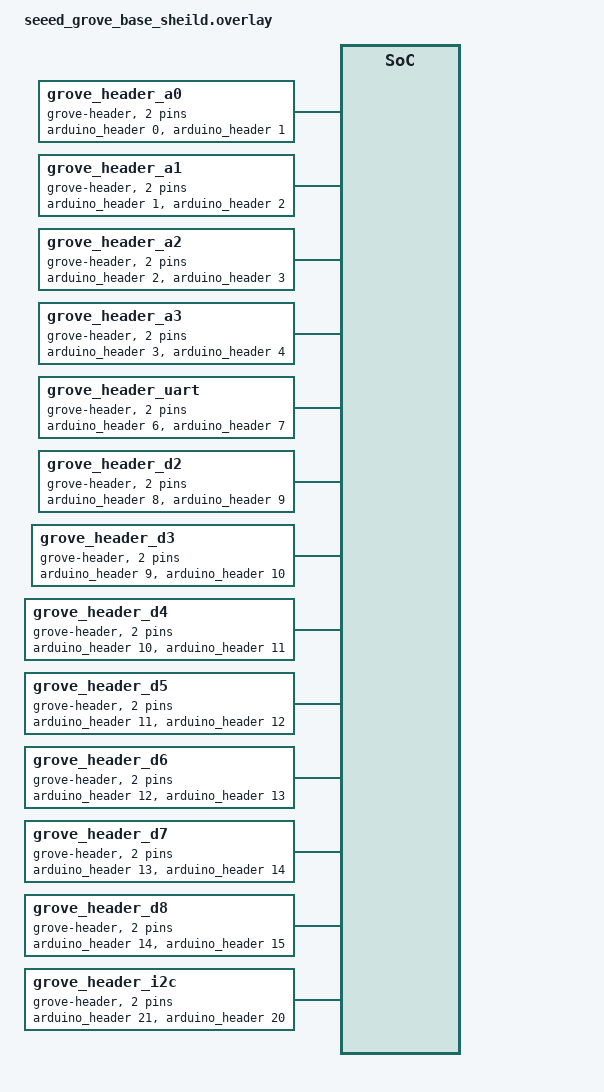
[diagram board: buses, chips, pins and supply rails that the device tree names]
/*
 * Copyright (c) 2024 TOKITA Hiroshi
 *
 * SPDX-License-Identifier: Apache-2.0
 */

/ {
	grove_header_a0: grove_header_a0 {
		compatible = "grove-header";
		#gpio-cells = <2>;
		gpio-map-mask = <0xffffffff 0xffffffc0>;
		gpio-map-pass-thru = <0 0x3f>;
		gpio-map = <0 0 &arduino_header 0 0>,    /* A0 */
			   <1 0 &arduino_header 1 0>;    /* A1 */
	};

	grove_header_a1: grove_header_a1 {
		compatible = "grove-header";
		#gpio-cells = <2>;
		gpio-map-mask = <0xffffffff 0xffffffc0>;
		gpio-map-pass-thru = <0 0x3f>;
		gpio-map = <0 0 &arduino_header 1 0>,    /* A1 */
			   <1 0 &arduino_header 2 0>;    /* A2 */
	};

	grove_header_a2: grove_header_a2 {
		compatible = "grove-header";
		#gpio-cells = <2>;
		gpio-map-mask = <0xffffffff 0xffffffc0>;
		gpio-map-pass-thru = <0 0x3f>;
		gpio-map = <0 0 &arduino_header 2 0>,    /* A2 */
			   <1 0 &arduino_header 3 0>;    /* A3 */
	};

	grove_header_a3: grove_header_a3 {
		compatible = "grove-header";
		#gpio-cells = <2>;
		gpio-map-mask = <0xffffffff 0xffffffc0>;
		gpio-map-pass-thru = <0 0x3f>;
		gpio-map = <0 0 &arduino_header 3 0>,    /* A3 */
			   <1 0 &arduino_header 4 0>;    /* A4 */
	};

	grove_header_uart: grove_header {
		compatible = "grove-header";
		#gpio-cells = <2>;
		gpio-map-mask = <0xffffffff 0xffffffc0>;
		gpio-map-pass-thru = <0 0x3f>;
		gpio-map = <0 0 &arduino_header 6 0>,    /* D0/RX */
			   <1 0 &arduino_header 7 0>;    /* D1/TX */
	};

	grove_header_d2: grove_header_d2 {
		compatible = "grove-header";
		#gpio-cells = <2>;
		gpio-map-mask = <0xffffffff 0xffffffc0>;
		gpio-map-pass-thru = <0 0x3f>;
		gpio-map = <0 0 &arduino_header 8 0>,    /* D2 */
			   <1 0 &arduino_header 9 0>;    /* D3 */
	};

	grove_header_d3: grove_header_d3 {
		compatible = "grove-header";
		#gpio-cells = <2>;
		gpio-map-mask = <0xffffffff 0xffffffc0>;
		gpio-map-pass-thru = <0 0x3f>;
		gpio-map = <0 0 &arduino_header 9 0>,    /* D3 */
			   <1 0 &arduino_header 10 0>;   /* D4 */
	};

	grove_header_d4: grove_header_d4 {
		compatible = "grove-header";
		#gpio-cells = <2>;
		gpio-map-mask = <0xffffffff 0xffffffc0>;
		gpio-map-pass-thru = <0 0x3f>;
		gpio-map = <0 0 &arduino_header 10 0>,    /* D4 */
			   <1 0 &arduino_header 11 0>;    /* D5 */
	};

	grove_header_d5: grove_header_d5 {
		compatible = "grove-header";
		#gpio-cells = <2>;
		gpio-map-mask = <0xffffffff 0xffffffc0>;
		gpio-map-pass-thru = <0 0x3f>;
		gpio-map = <0 0 &arduino_header 11 0>,    /* D5 */
			   <1 0 &arduino_header 12 0>;    /* D6 */
	};

	grove_header_d6: grove_header_d6 {
		compatible = "grove-header";
		#gpio-cells = <2>;
		gpio-map-mask = <0xffffffff 0xffffffc0>;
		gpio-map-pass-thru = <0 0x3f>;
		gpio-map = <0 0 &arduino_header 12 0>,    /* D6 */
			   <1 0 &arduino_header 13 0>;    /* D7 */
	};

	grove_header_d7: grove_header_d7 {
		compatible = "grove-header";
		#gpio-cells = <2>;
		gpio-map-mask = <0xffffffff 0xffffffc0>;
		gpio-map-pass-thru = <0 0x3f>;
		gpio-map = <0 0 &arduino_header 13 0>,    /* D7 */
			   <1 0 &arduino_header 14 0>;    /* D8 */
	};

	grove_header_d8: grove_header_d8 {
		compatible = "grove-header";
		#gpio-cells = <2>;
		gpio-map-mask = <0xffffffff 0xffffffc0>;
		gpio-map-pass-thru = <0 0x3f>;
		gpio-map = <0 0 &arduino_header 14 0>,    /* D8 */
			   <1 0 &arduino_header 15 0>;    /* D9 */
	};

	grove_header_i2c: grove_header_i2c {
		compatible = "grove-header";
		#gpio-cells = <2>;
		gpio-map-mask = <0xffffffff 0xffffffc0>;
		gpio-map-pass-thru = <0 0x3f>;
		gpio-map = <0 0 &arduino_header 21 0>,    /* D15/SCL */
			   <1 0 &arduino_header 20 0>;    /* D14/SDA */
	};
};

grove_i2c: &arduino_i2c {};
grove_serial: &arduino_serial {};
grove_header: &grove_header_i2c {};
